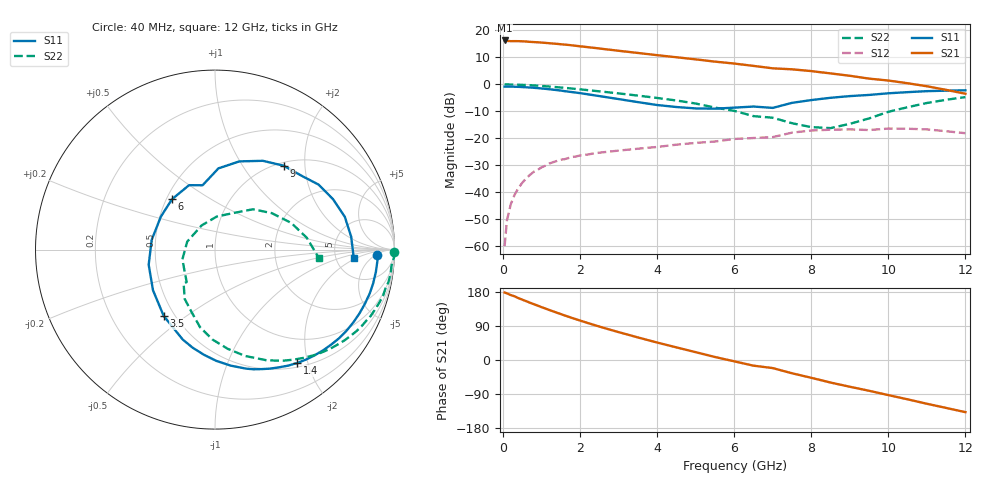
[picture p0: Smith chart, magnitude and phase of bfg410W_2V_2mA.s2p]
! Filename: 22bfg410.001
! BFG410W Field B1
! V1=8.334E-001V,V2=2.000E+000V, I1=2.838E-005A, I2=2.000E-003A
# GHz  S  MA  R 50
!  S11  S21  S12  S22
!Freq(GHz)  Mag  Ang  Mag  Ang  Mag  Ang  Mag  Ang
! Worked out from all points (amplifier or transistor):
!   44 points, 40 MHz to 12 GHz, reference 50 ohm
!   highest |S21| = 16.2 dB at 40 MHz (marker M1)
!   |S21| within 3 dB of that: start of sweep to 2.512 GHz
!   unconditionally stable (mu >= 1): 3.39 GHz to end of sweep
!   at 700 MHz: K = 0.18, MSG = 24.6 dB, |S12| = -33.6 dB
!   at 2.4 GHz: K = 0.65, MSG = 19.5 dB, |S12| = -25.5 dB
!   at 12 GHz: K = 1.84, MAG = 2.0 dB, |S12| = -18.1 dB
!   S11 on the Smith chart (normalised r, x): 40 MHz: 18, -6; 1.4 GHz: 0.56, -1.82; 3.5 GHz: 0.44, -0.41; 6 GHz: 0.53, +0.35; 9 GHz: 1.06, +1.56; 12 GHz: 7.48, -1.64
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0.04  0.903 -1.9  6.49 178.0  0.001 75.2  0.999 -0.6
0.1  0.907 -3.9  6.371 175.9  0.003 88.5  0.999 -2.3
0.2  0.905 -7.9  6.297 171.3  0.006 83.8  0.987 -5.4
0.4  0.896 -15.8  6.296 163.1  0.012 78.5  0.983 -10.6
0.9  0.85 -35.5  6.002 143.4  0.026 65.2  0.943 -23.1
1.2  0.809 -46.8  5.77 132.0  0.034 58.1  0.909 -30.1
1.4  0.78 -54.1  5.609 124.7  0.038 53.7  0.884 -34.5
1.8  0.715 -68.6  5.256 110.6  0.045 45.8  0.832 -42.9
2.2  0.652 -82.4  4.876 97.6  0.05 39.2  0.779 -50.8
2.8  0.56 -102.9  4.344 79.3  0.057 31.3  0.702 -61.7
3.5  0.467 -127.7  3.806 59.5  0.064 24.1  0.617 -74.0
4  0.413 -146.8  3.465 46.0  0.069 19.6  0.558 -82.6
4.5  0.379 -167.1  3.169 33.2  0.076 15.1  0.501 -91.6
5  0.357 171.3  2.896 20.6  0.082 9.9  0.44 -101.0
6  0.369 130.6  2.423 -3.5  0.097 -0.9  0.322 -121.7
6.5  0.387 111.9  2.191 -15.0  0.101 -6.7  0.257 -132.8
7  0.365 100.9  1.976 -21.4  0.105 2.5  0.24 -131.1
7.5  0.453 87.6  1.895 -35.0  0.127 -13.3  0.19 -163.2
8.5  0.562 61.7  1.59 -59.5  0.144 -36.2  0.154 118.8
9  0.604 50.7  1.438 -70.6  0.146 -45.8  0.185 86.6
10.5  0.715 23.2  1.046 -103.8  0.15 -75.8  0.376 32.7
12  0.774 -3.3  0.668 -137.6  0.124 -115.1  0.579 -4.4
